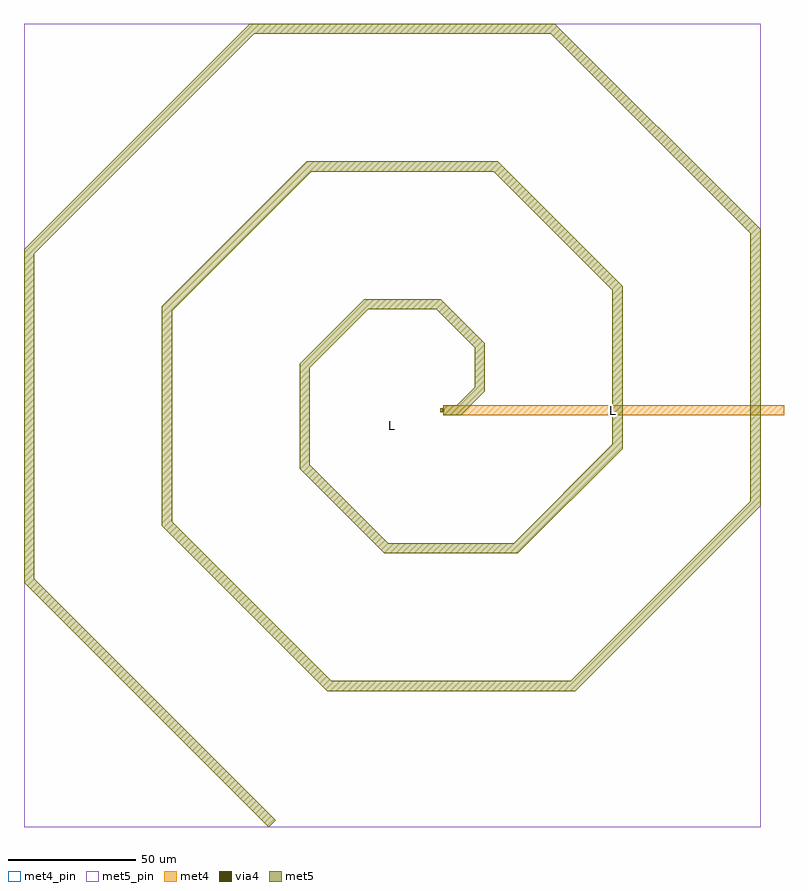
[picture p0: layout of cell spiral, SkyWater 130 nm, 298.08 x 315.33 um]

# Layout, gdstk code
import gdstk
lib = gdstk.Library(unit=1e-6, precision=1e-09)
def R(c, l, rs):  # rectangles x0, y0, x1, y1
    for r in rs: c.add(gdstk.rectangle(r[:2], r[2:], *l))
def P(c, l, *ps):  # polygons
    for p in ps: c.add(gdstk.Polygon(p, *l))
met4_pin = (71, 16)
met4 = (71, 20)
via4 = (71, 44)
met5_pin = (72, 16)
met5 = (72, 20)

spiral = lib.new_cell('spiral')
R(spiral, met4_pin, [(0,-2,133.56,2)])
R(spiral, met4, [(0,-2,133.56,2), (-0.59,-0.59,0.59,0.59)])
R(spiral, via4, [(-0.4,-0.4,0.4,0.4)])
R(spiral, met5_pin, [(-164.52,-163.65,124.36,151.68)])
R(spiral, met5, [(-1.25,-0.8,1.25,0.8)])
P(spiral, met5, [(-68.615,-163.65),(-164.52,-67.745),(-164.52,63.115),(-75.95,151.68),(43.71,151.68),(124.36,71.03),(124.36,-37.43),(51.63,-110.155),(-45.63,-110.155),(-110.44,-45.345),(-110.44,40.715),(-53.55,97.605),(21.31,97.605),(70.28,48.63),(70.28,-15.03),(29.23,-56.08),(-23.23,-56.08),(-56.36,-22.945),(-56.36,18.315),(-31.15,43.525),(-1.09,43.525),(16.2,26.23),(16.2,7.37),(6.83,-2),(0,-2),(0,2),(5.17,2),(12.2,9.03),(12.2,24.57),(-2.75,39.525),(-29.49,39.525),(-52.36,16.655),(-52.36,-21.285),(-21.57,-52.08),(27.57,-52.08),(66.28,-13.37),(66.28,46.97),(19.65,93.605),(-51.89,93.605),(-106.44,39.055),(-106.44,-43.685),(-43.97,-106.155),(49.97,-106.155),(120.36,-35.77),(120.36,69.37),(42.05,147.68),(-74.29,147.68),(-160.52,61.455),(-160.52,-66.085),(-65.785,-160.82)])
spiral.add(gdstk.Label('L', (-20.08,-5.985), layer=72, texttype=16))
spiral.add(gdstk.Label('L', (-20.08,-5.985), layer=72, texttype=5))
spiral.add(gdstk.Label('L', (66.78,0), layer=71, texttype=16))
spiral.add(gdstk.Label('L', (66.78,0), layer=71, texttype=5))

lib.write_gds('spiral.gds')
